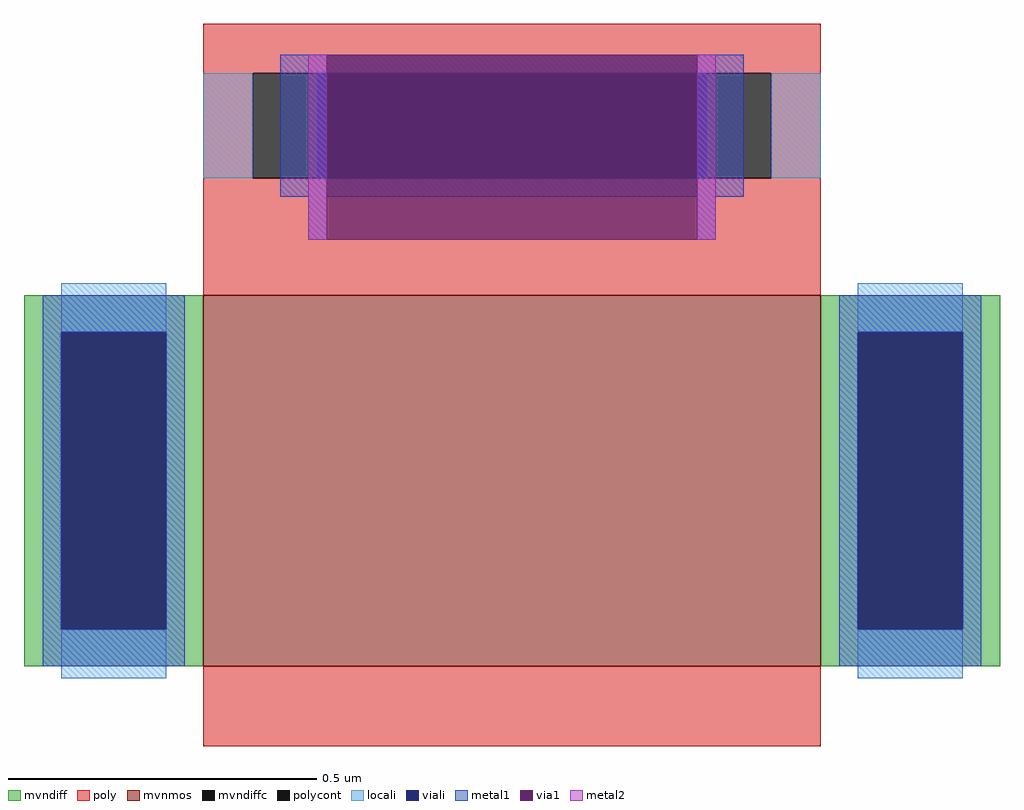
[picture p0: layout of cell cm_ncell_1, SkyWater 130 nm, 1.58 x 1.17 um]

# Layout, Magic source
magic
tech sky130A
magscale 1 2
<< metal1 >>
rect 69 157 75 217
rect 195 157 201 217
<< via1 >>
rect 75 157 195 217
<< metal2 >>
rect 69 157 75 217
rect 195 157 201 217
use sky130_fd_pr__nfet_g5v0d10v5_QKV39N  sky130_fd_pr__nfet_g5v0d10v5_QKV39N_0
transform 1 0 135 0 1 110
box -158 -117 158 117
<< end >>

# cell sky130_fd_pr__nfet_g5v0d10v5_QKV39N: kit device sky130_fd_pr__nfet_g5v0d10v5, w 0.6 l 1 m 1 nf 1 diffcov 100 polycov 100 guard 0 glc 1 grc 1 gtc 1 gbc 1 tbcov 100 rlcov 100 topc 1 botc 0 poverlap 0 doverlap 1 lmin 0.50 wmin 0.42 compatible {sky130_fd_pr__nfet_01v8 sky130_fd_pr__nfet_01v8_lvt sky130_fd_bs_flash__special_sonosfet_star sky130_fd_pr__nfet_g5v0d10v5 sky130_fd_pr__nfet_05v0_nvt sky130_fd_pr__nfet_03v3_nvt} full_metal 1 viasrc 100 viadrn 100 viagate 75 viagb 0 viagr 0 viagl 0 viagt 0
